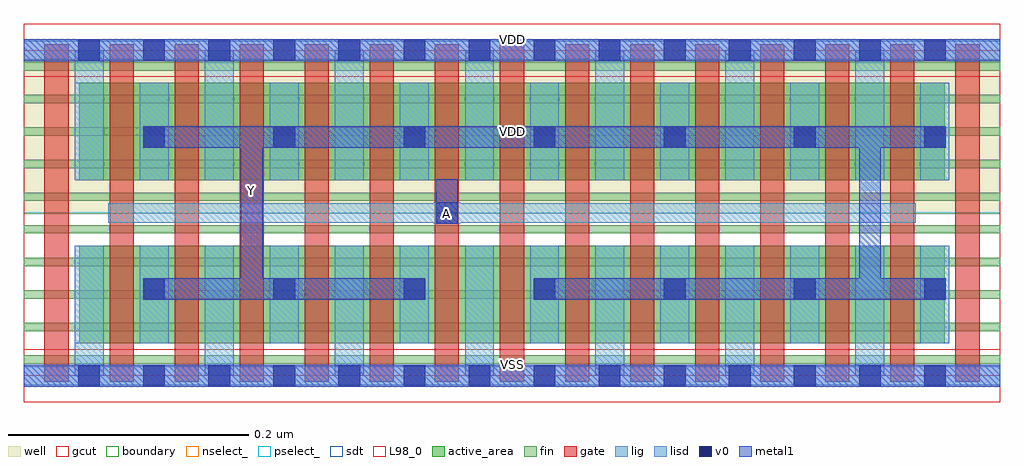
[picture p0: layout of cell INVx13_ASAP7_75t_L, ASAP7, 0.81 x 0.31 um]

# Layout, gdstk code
import gdstk
lib = gdstk.Library(unit=1e-6, precision=2.5e-10)
def R(c, l, rs):  # rectangles x0, y0, x1, y1
    for r in rs: c.add(gdstk.rectangle(r[:2], r[2:], *l))
def A(c, l, x, y, w, h, nx, ny, dx, dy):  # array of equal rectangles
    R(c, l, [(x+i*dx, y+j*dy, x+i*dx+w, y+j*dy+h) for i in range(nx) for j in range(ny)])
def P(c, l, *ps):  # polygons
    for p in ps: c.add(gdstk.Polygon(p, *l))
well = (1, 0)
fin = (2, 0)
gate = (7, 0)
gcut = (10, 0)
active_area = (11, 0)
nselect_ = (12, 0)
pselect_ = (13, 0)
lig = (16, 0)
lisd = (17, 0)
v0 = (18, 0)
metal1 = (19, 0)
sdt = (88, 0)
L98_0 = (98, 0)
boundary = (100, 0)

invx13_asap7_75t_l = lib.new_cell('INVx13_ASAP7_75t_L')
R(invx13_asap7_75t_l, well, [(0,0.135,0.81,0.27)])
A(invx13_asap7_75t_l, fin, 0, 0.01, 0.81, 0.007, 1, 10, 0, 0.027)
A(invx13_asap7_75t_l, gate, 0.017, -0.005, 0.02, 0.28, 15, 1, 0.054, 0)
R(invx13_asap7_75t_l, gcut, [(0,-0.022,0.81,0.022), (0,0.248,0.81,0.292)])
R(invx13_asap7_75t_l, active_area, [(0.046,0.027,0.764,0.108), (0.046,0.162,0.764,0.243)])
R(invx13_asap7_75t_l, nselect_, [(0,0,0.81,0.135)])
R(invx13_asap7_75t_l, pselect_, [(0,0.135,0.81,0.27)])
R(invx13_asap7_75t_l, lig, [(0,-0.008,0.81,0.008), (0.34,0.126,0.362,0.144), (0.07,0.127,0.74,0.143), (0,0.262,0.81,0.278)])
A(invx13_asap7_75t_l, lisd, 0.096, 0.027, 0.024, 0.081, 7, 2, 0.108, 0.135)
R(invx13_asap7_75t_l, lisd, [(0.042,0,0.066,0.108), (0.042,0,0.066,0.108), (0.15,0,0.174,0.108), (0.15,0,0.174,0.108), (0.258,0,0.282,0.108), (0.258,0,0.282,0.108), (0.366,0,0.39,0.108), (0.366,0,0.39,0.108), (0.474,0,0.498,0.108), (0.474,0,0.498,0.108), (0.582,0,0.606,0.108), (0.582,0,0.606,0.108), (0.69,0,0.714,0.108), (0.69,0,0.714,0.108), (0.042,0.162,0.066,0.27), (0.042,0.162,0.066,0.27), (0.15,0.162,0.174,0.27), (0.15,0.162,0.174,0.27), (0.258,0.162,0.282,0.27), (0.258,0.162,0.282,0.27), (0.366,0.162,0.39,0.27), (0.366,0.162,0.39,0.27), (0.474,0.162,0.498,0.27), (0.474,0.162,0.498,0.27), (0.582,0.162,0.606,0.27), (0.582,0.162,0.606,0.27), (0.69,0.162,0.714,0.27), (0.69,0.162,0.714,0.27)])
A(invx13_asap7_75t_l, v0, 0.045, -0.009, 0.018, 0.018, 14, 2, 0.054, 0.27)
A(invx13_asap7_75t_l, v0, 0.099, 0.063, 0.018, 0.018, 7, 2, 0.108, 0.126)
R(invx13_asap7_75t_l, v0, [(0.342,0.126,0.36,0.144)])
A(invx13_asap7_75t_l, metal1, 0.099, 0.063, 0.018, 0.018, 7, 2, 0.108, 0.126)
R(invx13_asap7_75t_l, metal1, [(0,-0.009,0.81,0.009), (0.342,0.126,0.36,0.144), (0.342,0.126,0.36,0.163), (0,0.261,0.81,0.279)])
P(invx13_asap7_75t_l, metal1, [(0.765,0.207),(0.099,0.207),(0.099,0.189),(0.18,0.189),(0.18,0.081),(0.099,0.081),(0.099,0.063),(0.333,0.063),(0.333,0.081),(0.198,0.081),(0.198,0.189),(0.693,0.189),(0.693,0.081),(0.423,0.081),(0.423,0.063),(0.765,0.063),(0.765,0.081),(0.711,0.081),(0.711,0.189),(0.765,0.189)])
A(invx13_asap7_75t_l, sdt, 0.042, 0.027, 0.024, 0.081, 3, 2, 0.054, 0.135)
A(invx13_asap7_75t_l, sdt, 0.15, 0.027, 0.024, 0.081, 3, 2, 0.054, 0.135)
A(invx13_asap7_75t_l, sdt, 0.258, 0.027, 0.024, 0.081, 3, 2, 0.054, 0.135)
A(invx13_asap7_75t_l, sdt, 0.366, 0.027, 0.024, 0.081, 3, 2, 0.054, 0.135)
A(invx13_asap7_75t_l, sdt, 0.474, 0.027, 0.024, 0.081, 3, 2, 0.054, 0.135)
A(invx13_asap7_75t_l, sdt, 0.582, 0.027, 0.024, 0.081, 3, 2, 0.054, 0.135)
R(invx13_asap7_75t_l, sdt, [(0.042,0.027,0.066,0.108), (0.69,0.027,0.714,0.108), (0.744,0.027,0.768,0.108), (0.042,0.162,0.066,0.243), (0.69,0.162,0.714,0.243), (0.744,0.162,0.768,0.243)])
R(invx13_asap7_75t_l, L98_0, [(0,0,0.81,0.27)])
R(invx13_asap7_75t_l, boundary, [(0,0,0.81,0.27)])
invx13_asap7_75t_l.add(gdstk.Label('VDD', (0.405,0.2025), layer=1, texttype=251))
invx13_asap7_75t_l.add(gdstk.Label('VSS', (0.405,-0.0675), layer=3, texttype=251))
invx13_asap7_75t_l.add(gdstk.Label('VSS', (0.405,0.009), layer=19, texttype=251))
invx13_asap7_75t_l.add(gdstk.Label('VDD', (0.405,0.279), layer=19, texttype=251))
invx13_asap7_75t_l.add(gdstk.Label('A', (0.351,0.135), layer=19, texttype=251))
invx13_asap7_75t_l.add(gdstk.Label('Y', (0.189,0.154), layer=19, texttype=251))

lib.write_gds('INVx13_ASAP7_75t_L.gds')
